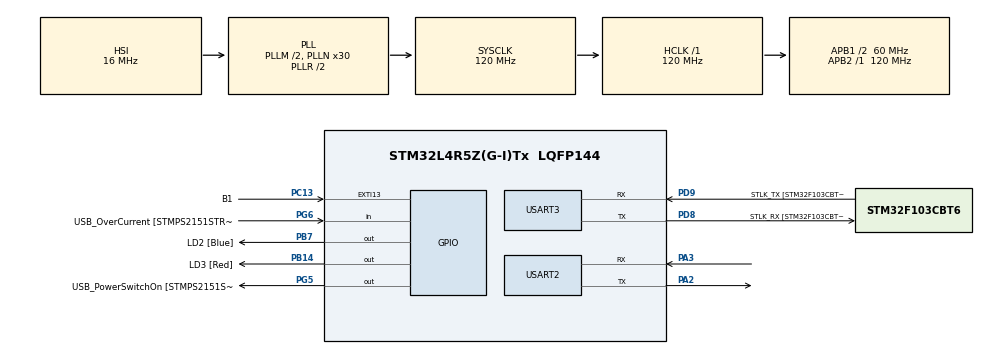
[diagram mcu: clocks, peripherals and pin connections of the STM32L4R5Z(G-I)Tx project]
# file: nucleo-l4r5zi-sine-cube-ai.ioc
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Mcu.Family=STM32L4
RCC.CortexFreq_Value=120000000
STMicroelectronics.X-CUBE-AI.5.2.0.ModelNameList=sine_test,sine_30_30
PG6.Signal=GPIO_Input
PH0-OSC_IN\ (PH0).Signal=RCC_OSC_IN
PG8.Signal=LPUART1_RX
PB14.GPIO_Label=LD3 [Red]
PG6.GPIO_Label=USB_OverCurrent [STMPS2151STR_FAULT]
RCC.SYSCLKSourceVirtual=RCC_SYSCLKSOURCE_PLLCLK
PC15-OSC32_OUT\ (PC15).Mode=LSE-External-Oscillator
STMicroelectronics.X-CUBE-AI.5.2.0.InternalRamActivationBufferMaxSize=AI_SINE_30_30_DATA_ACTIVATIONS_SIZE
PC13.GPIO_Label=B1
PG5.GPIO_Label=USB_PowerSwitchOn [STMPS2151STR_EN]
PD9.Mode=Asynchronous
RCC.SYSCLKSource=RCC_SYSCLKSOURCE_PLLCLK
ProjectManager.StackSize=0x800
STMicroelectronics.X-CUBE-AI.5.2.0.ModelCompression-7002073b0f6a1c85da4d9801150b31406abebfd62baa7a13b6d25261d2a073a7=1
PC14-OSC32_IN\ (PC14).Mode=LSE-External-Oscillator
STMicroelectronics.X-CUBE-AI.5.2.0.ModelRamOccupation-7002073b0f6a1c85da4d9801150b31406abebfd62baa7a13b6d25261d2a073a7=136
USART3.VirtualMode-Asynchronous=VM_ASYNC
STMicroelectronics.X-CUBE-AI.5.2.0.ModelActualCompression-7002073b0f6a1c85da4d9801150b31406abebfd62baa7a13b6d25261d2a073a7=0.0
PA14\ (JTCK/SWCLK).Signal=SYS_JTCK-SWCLK
PA12.Signal=USB_OTG_FS_DP
STMicroelectronics.X-CUBE-AI.5.2.0.StackSize=0x800
STMicroelectronics.X-CUBE-AI.5.2.0.ModelType-bbc4f4d564218044c65541d56d3efa4f631f7e876936c59d42f020930ff69089=Saved model
STMicroelectronics.X-CUBE-AI.5.2.0.ModelRamOccupation-bbc4f4d564218044c65541d56d3efa4f631f7e876936c59d42f020930ff69089=248
STMicroelectronics.X-CUBE-AI.5.2.0.ModelCompression-bbc4f4d564218044c65541d56d3efa4f631f7e876936c59d42f020930ff69089=1
RCC.HCLKFreq_Value=120000000
RCC.APB2TimFreq_Value=120000000
PD8.Signal=USART3_TX
STMicroelectronics.X-CUBE-AI.5.2.0.HeapSize=0x200
RCC.AHBFreq_Value=120000000
STMicroelectronics.X-CUBE-AI.5.2.0.ModelHashList=7002073b0f6a1c85da4d9801150b31406abebfd62baa7a13b6d25261d2a073a7;bbc4f4d564218044c65541d56d3efa4f631f7e876936c59d42f020930ff69089
RCC.HSE_VALUE=8000000
STMicroelectronics.X-CUBE-AI.5.2.0.ModelStructureFile-bbc4f4d564218044c65541d56d3efa4f631f7e876936c59d42f020930ff69089=C\:\\Users\\chitr\\Downloads\\sine_test_30_30.tflite
STMicroelectronics.X-CUBE-AI.5.2.0.ModelKind-7002073b0f6a1c85da4d9801150b31406abebfd62baa7a13b6d25261d2a073a7=TFLITE
USART2.VirtualMode-Asynchronous=VM_ASYNC
RCC.PLLMUL=RCC_PLL_MUL9
STMicroelectronics.X-CUBE-AI.5.2.0.ModelName-7002073b0f6a1c85da4d9801150b31406abebfd62baa7a13b6d25261d2a073a7=sine_test
PA13\ (JTMS/SWDIO).GPIO_Label=TMS
STMicroelectronics.X-CUBE-AI.5.2.0.ModelMacc-bbc4f4d564218044c65541d56d3efa4f631f7e876936c59d42f020930ff69089=1020
PA10.GPIO_Label=USB_ID
STMicroelectronics.X-CUBE-AI.5.2.0.ModelKind-bbc4f4d564218044c65541d56d3efa4f631f7e876936c59d42f020930ff69089=TFLITE
STMicroelectronics.X-CUBE-AI.5.2.0.ModelMacc-7002073b0f6a1c85da4d9801150b31406abebfd62baa7a13b6d25261d2a073a7=320
PB7.Signal=GPIO_Output
STMicroelectronics.X-CUBE-AI.5.2.0.LatestDirectoryUsed-7002073b0f6a1c85da4d9801150b31406abebfd62baa7a13b6d25261d2a073a7=C\:\\Users\\chitr\\Downloads
PA8.Signal=USB_OTG_FS_SOF
PA14\ (JTCK/SWCLK).Mode=Trace_Asynchronous_SW
STMicroelectronics.X-CUBE-AI.5.2.0.XAaCUBEAaAICcArtificialOoIntelligenceJjCore=true
PB7.GPIO_Label=LD2 [Blue]
Mcu.Package=LQFP144
STMicroelectronics.X-CUBE-AI.5.2.0.ModelStructureFile-7002073b0f6a1c85da4d9801150b31406abebfd62baa7a13b6d25261d2a073a7=C\:\\Users\\chitr\\Downloads\\sine_test_16_16_NN.tflite
PA10.Signal=USB_OTG_FS_ID
PA14\ (JTCK/SWCLK).GPIO_Label=TCK
RCC.APB1TimFreq_Value=120000000
STMicroelectronics.X-CUBE-AI.5.2.0.MaximumSizeOfInputLayer=AI_SINE_TEST_IN_1_SIZE_BYTES
RCC.CK48CLockSelection=RCC_USBCLKSOURCE_HSI48
TIM16.Prescaler=80-1
STMicroelectronics.X-CUBE-AI.5.2.0.LatestDirectoryUsed-bbc4f4d564218044c65541d56d3efa4f631f7e876936c59d42f020930ff69089=C\:\\Users\\chitr\\Downloads
STMicroelectronics.X-CUBE-AI.5.2.0.MaximumNumberOfOutputLayer=1
RCC.HSI48_VALUE=48000000
RCC.PLLSAI1N=12
PA3.Signal=USART2_RX
PB3\ (JTDO/TRACESWO).GPIO_Label=SWO
RCC.MSI_VALUE=4000000
RCC.PLLSourceVirtual=RCC_PLLSOURCE_HSI
STMicroelectronics.X-CUBE-AI.5.2.0.MaximumSizeOfOutputLayer=AI_SINE_TEST_OUT_1_SIZE_BYTES
PG7.Signal=LPUART1_TX
PA13\ (JTMS/SWDIO).Mode=Trace_Asynchronous_SW
PD9.GPIO_Label=STLK_TX [STM32F103CBT6_PA2]
PG5.Signal=GPIO_Output
PC13.Signal=GPXTI13
PA9.GPIO_Label=USB_VBUS
STMicroelectronics.X-CUBE-AI.5.2.0.ModelFlashOccupation-7002073b0f6a1c85da4d9801150b31406abebfd62baa7a13b6d25261d2a073a7=1284
PA11.GPIO_Label=USB_DM
PC15-OSC32_OUT\ (PC15).Signal=RCC_OSC32_OUT
PD9.Signal=USART3_RX
VP_TIM16_VS_ClockSourceINT.Mode=Enable_Timer
RCC.APB1CLKDivider=RCC_HCLK_DIV2
PA12.GPIO_Label=USB_DP
VP_STMicroelectronics.X-CUBE-AI_VS_ArtificialOoIntelligenceJjXAaCUBEAaAI_5.2.0.Mode=ArtificialOoIntelligenceJjXAaCUBEAaAI
PH1-OSC_OUT\ (PH1).Signal=RCC_OSC_OUT
PD8.GPIO_Label=STLK_RX [STM32F103CBT6_PA3]
PG8.GPIO_Label=STLINK_RX
PA3.Mode=Asynchronous
PA8.GPIO_Label=USB_SOF [TP1]
PB3\ (JTDO/TRACESWO).Signal=SYS_JTDO-SWO
ProjectManager.TargetToolchain=STM32CubeIDE
STMicroelectronics.X-CUBE-AI.5.2.0.MaximumNumberOfInputLayer=1
PA9.Signal=USB_OTG_FS_VBUS
RCC.USBFreq_Value=48000000
PD8.Mode=Asynchronous
STMicroelectronics.X-CUBE-AI.5.2.0.ModelFlashOccupation-bbc4f4d564218044c65541d56d3efa4f631f7e876936c59d42f020930ff69089=4084
PB14.Signal=GPIO_Output
board=NUCLEO-L4R5ZI
STMicroelectronics.X-CUBE-AI.5.2.0.ModelName-bbc4f4d564218044c65541d56d3efa4f631f7e876936c59d42f020930ff69089=sine_30_30
RCC.VCOOutputFreq_Value=240000000
TIM16.Period=65536-1
RCC.APB2Freq_Value=120000000
STMicroelectronics.X-CUBE-AI.5.2.0.ActivationBufferSizeList=136,248
STMicroelectronics.X-CUBE-AI.5.2.0.WorkingBufferStartAddrList=0xFFFFFFFF,0xFFFFFFFF
RCC.PRESCALERUSB=RCC_USBCLKSOURCE_PLL_DIV1_5
PG7.GPIO_Label=STLINK_TX
RCC.ADCFreq_Value=96000000
Mcu.Name=STM32L4R5Z(G-I)Tx
PA2.Signal=USART2_TX
RCC.48MHZClocksFreq_Value=24000000
RCC.SYSCLKFreq_VALUE=120000000
RCC.PLLM1=2
PC14-OSC32_IN\ (PC14).Signal=RCC_OSC32_IN
PA11.Signal=USB_OTG_FS_DM
ProjectManager.HeapSize=0x200
RCC.HSI_VALUE=16000000
STMicroelectronics.X-CUBE-AI.5.2.0.ModelType-7002073b0f6a1c85da4d9801150b31406abebfd62baa7a13b6d25261d2a073a7=Saved model
NVIC.PriorityGroup=NVIC_PRIORITYGROUP_4
PB3\ (JTDO/TRACESWO).Mode=Trace_Asynchronous_SW
RCC.PLLN=30
PA2.Mode=Asynchronous
RCC.APB1Freq_Value=60000000
VP_CRC_VS_CRC.Mode=CRC_Activate
PA13\ (JTMS/SWDIO).Signal=SYS_JTMS-SWDIO
STMicroelectronics.X-CUBE-AI.5.2.0.ModelActualCompression-bbc4f4d564218044c65541d56d3efa4f631f7e876936c59d42f020930ff69089=0.0

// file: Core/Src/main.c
/* USER CODE BEGIN Header */
/**
  ******************************************************************************
  * @file           : main.c
  * @brief          : Main program body
  ******************************************************************************
  * @attention
  *
  * <h2><center>&copy; Copyright (c) 2021 STMicroelectronics.
  * All rights reserved.</center></h2>
  *
  * This software component is licensed by ST under BSD 3-Clause license,
  * the "License"; You may not use this file except in compliance with the
  * License. You may obtain a copy of the License at:
  *                        opensource.org/licenses/BSD-3-Clause
  *
  ******************************************************************************
  */
/* USER CODE END Header */
#include "main.h"

/* USER CODE BEGIN Includes */
#include <stdio.h>

#include "ai_datatypes_defines.h"
#include "ai_platform.h"

// LSTM: 100-100
#include "sine_model_data.h"
#include "sine_model.h"
/* USER CODE END Includes */

CRC_HandleTypeDef hcrc;

TIM_HandleTypeDef htim16;

UART_HandleTypeDef huart2;
UART_HandleTypeDef huart3;

void SystemClock_Config(void);
static void MX_GPIO_Init(void);
static void MX_USART3_UART_Init(void);
static void MX_TIM16_Init(void);
static void MX_CRC_Init(void);
static void MX_USART2_UART_Init(void);

int main(void)
{
  /* USER CODE BEGIN 1 */
  char buf[50];
  int buf_len = 0;
  ai_error ai_err;
  ai_i32 nbatch;
  uint32_t timestamp;
  float y_val;

  // Chunk of memory used to hold intermediate values for neural network
  AI_ALIGNED(4) ai_u8 activations[AI_SINE_MODEL_DATA_ACTIVATIONS_SIZE];

  // Buffers used to store input and output tensors
  AI_ALIGNED(4) ai_i8 in_data[AI_SINE_MODEL_IN_1_SIZE_BYTES];
  AI_ALIGNED(4) ai_i8 out_data[AI_SINE_MODEL_OUT_1_SIZE_BYTES];

  // Pointer to our model
  ai_handle sine_model = AI_HANDLE_NULL;

  // Initialize wrapper structs that hold pointers to data and info about the
  // data (tensor height, width, channels)
  ai_buffer ai_input[AI_SINE_MODEL_IN_NUM] = AI_SINE_MODEL_IN;
  ai_buffer ai_output[AI_SINE_MODEL_OUT_NUM] = AI_SINE_MODEL_OUT;

  // Set working memory and get weights/biases from model
  ai_network_params ai_params = {
		  AI_SINE_MODEL_DATA_WEIGHTS(ai_sine_model_data_weights_get()),
		  AI_SINE_MODEL_DATA_ACTIVATIONS(activations)
  };

  // Set pointers wrapper structs to our data buffers
  ai_input[0].n_batches = 1;
  ai_input[0].data = AI_HANDLE_PTR(in_data);
  ai_output[0].n_batches = 1;
  ai_output[0].data = AI_HANDLE_PTR(out_data);

  /* USER CODE END 1 */

  /* MCU Configuration--------------------------------------------------------*/

  /* Reset of all peripherals, Initializes the Flash interface and the Systick. */
  HAL_Init();

  /* Configure the system clock */
  SystemClock_Config();

  /* Initialize all configured peripherals */
  MX_GPIO_Init();
  MX_USART3_UART_Init();
  MX_TIM16_Init();
  MX_CRC_Init();
  MX_USART2_UART_Init();
  /* USER CODE BEGIN 2 */
  // Start timer/counter
  HAL_TIM_Base_Start(&htim16);

  // Greetings!
  buf_len = sprintf(buf, "\r\n\r\nSTM32 X-Cube-AI test\r\n");
  HAL_UART_Transmit(&huart2, (uint8_t *)buf, buf_len, 100);

  // Create instance of neural network
  ai_err = ai_sine_model_create(&sine_model, AI_SINE_MODEL_DATA_CONFIG);
  if (ai_err.type != AI_ERROR_NONE)
  {
	  buf_len = sprintf(buf, "Error: could not create NN instance\r\n");
	  HAL_UART_Transmit(&huart2, (uint8_t *)buf, buf_len, 100);
	  while(1);
  }

  // Initialize neural network
  if (!ai_sine_model_init(sine_model, &ai_params))
  {
      buf_len = sprintf(buf, "Error: could not initialize NN\r\n");
      HAL_UART_Transmit(&huart2, (uint8_t *)buf, buf_len, 100);
      while(1);
  }
  /* USER CODE END 2 */

  /* Infinite loop */
  /* USER CODE BEGIN WHILE */
  while (1)
  {
	  HAL_GPIO_TogglePin(GPIOB, GPIO_PIN_7);
	  // Fill input buffer (use test value)
	  for (uint32_t i = 0; i < AI_SINE_MODEL_IN_1_SIZE; i++)
	  {
		  ((ai_float *)in_data)[i] = (ai_float)2.0f;
	  }

	  // Get current timestamp
	  timestamp = htim16.Instance->CNT;

	  // Perform inference
	  nbatch = ai_sine_model_run(sine_model, &ai_input[0], &ai_output[0]);
	  if (nbatch != 1) {
		buf_len = sprintf(buf, "Error: could not run inference\r\n");
		HAL_UART_Transmit(&huart2, (uint8_t *)buf, buf_len, 100);
	  }

	  // Read output (predicted y) of neural network
	  y_val = ((float *)out_data)[0];

	  HAL_GPIO_TogglePin(GPIOB, GPIO_PIN_14);

	  uint32_t inference_time = htim16.Instance->CNT - timestamp;
	  // Print output of neural network along with inference time (microseconds)
	  buf_len = sprintf(buf, "Output: %f | Duration: %lu\r\n", y_val, inference_time);

	  HAL_UART_Transmit(&huart2, (uint8_t *)buf, buf_len, 100);

	  // Wait before doing it again
	  HAL_Delay(2000);

    /* USER CODE END WHILE */

  }
}

void SystemClock_Config(void)
{
  RCC_OscInitTypeDef RCC_OscInitStruct = {0};
  RCC_ClkInitTypeDef RCC_ClkInitStruct = {0};
  RCC_PeriphCLKInitTypeDef PeriphClkInit = {0};

  /** Configure the main internal regulator output voltage
  */
  if (HAL_PWREx_ControlVoltageScaling(PWR_REGULATOR_VOLTAGE_SCALE1_BOOST) != HAL_OK)
  {
    Error_Handler();
  }
  /** Initializes the RCC Oscillators according to the specified parameters
  * in the RCC_OscInitTypeDef structure.
  */
  RCC_OscInitStruct.OscillatorType = RCC_OSCILLATORTYPE_HSI;
  RCC_OscInitStruct.HSIState = RCC_HSI_ON;
  RCC_OscInitStruct.HSICalibrationValue = RCC_HSICALIBRATION_DEFAULT;
  RCC_OscInitStruct.PLL.PLLState = RCC_PLL_ON;
  RCC_OscInitStruct.PLL.PLLSource = RCC_PLLSOURCE_HSI;
  RCC_OscInitStruct.PLL.PLLM = 2;
  RCC_OscInitStruct.PLL.PLLN = 30;
  RCC_OscInitStruct.PLL.PLLP = RCC_PLLP_DIV2;
  RCC_OscInitStruct.PLL.PLLQ = RCC_PLLQ_DIV2;
  RCC_OscInitStruct.PLL.PLLR = RCC_PLLR_DIV2;
  if (HAL_RCC_OscConfig(&RCC_OscInitStruct) != HAL_OK)
  {
    Error_Handler();
  }
  /** Initializes the CPU, AHB and APB buses clocks
  */
  RCC_ClkInitStruct.ClockType = RCC_CLOCKTYPE_HCLK|RCC_CLOCKTYPE_SYSCLK
                              |RCC_CLOCKTYPE_PCLK1|RCC_CLOCKTYPE_PCLK2;
  RCC_ClkInitStruct.SYSCLKSource = RCC_SYSCLKSOURCE_PLLCLK;
  RCC_ClkInitStruct.AHBCLKDivider = RCC_SYSCLK_DIV1;
  RCC_ClkInitStruct.APB1CLKDivider = RCC_HCLK_DIV2;
  RCC_ClkInitStruct.APB2CLKDivider = RCC_HCLK_DIV1;

  if (HAL_RCC_ClockConfig(&RCC_ClkInitStruct, FLASH_LATENCY_5) != HAL_OK)
  {
    Error_Handler();
  }
  PeriphClkInit.PeriphClockSelection = RCC_PERIPHCLK_USART2|RCC_PERIPHCLK_USART3;
  PeriphClkInit.Usart2ClockSelection = RCC_USART2CLKSOURCE_PCLK1;
  PeriphClkInit.Usart3ClockSelection = RCC_USART3CLKSOURCE_PCLK1;
  if (HAL_RCCEx_PeriphCLKConfig(&PeriphClkInit) != HAL_OK)
  {
    Error_Handler();
  }
}

static void MX_CRC_Init(void)
{

  hcrc.Instance = CRC;
  hcrc.Init.DefaultPolynomialUse = DEFAULT_POLYNOMIAL_ENABLE;
  hcrc.Init.DefaultInitValueUse = DEFAULT_INIT_VALUE_ENABLE;
  hcrc.Init.InputDataInversionMode = CRC_INPUTDATA_INVERSION_NONE;
  hcrc.Init.OutputDataInversionMode = CRC_OUTPUTDATA_INVERSION_DISABLE;
  hcrc.InputDataFormat = CRC_INPUTDATA_FORMAT_BYTES;
  if (HAL_CRC_Init(&hcrc) != HAL_OK)
  {
    Error_Handler();
  }

}

static void MX_TIM16_Init(void)
{

  htim16.Instance = TIM16;
  htim16.Init.Prescaler = 1831;
  htim16.Init.CounterMode = TIM_COUNTERMODE_UP;
  htim16.Init.Period = 65536-1;
  htim16.Init.ClockDivision = TIM_CLOCKDIVISION_DIV1;
  htim16.Init.RepetitionCounter = 0;
  htim16.Init.AutoReloadPreload = TIM_AUTORELOAD_PRELOAD_DISABLE;
  if (HAL_TIM_Base_Init(&htim16) != HAL_OK)
  {
    Error_Handler();
  }

}

static void MX_USART2_UART_Init(void)
{

  huart2.Instance = USART2;
  huart2.Init.BaudRate = 115200;
  huart2.Init.WordLength = UART_WORDLENGTH_8B;
  huart2.Init.StopBits = UART_STOPBITS_1;
  huart2.Init.Parity = UART_PARITY_NONE;
  huart2.Init.Mode = UART_MODE_TX_RX;
  huart2.Init.HwFlowCtl = UART_HWCONTROL_NONE;
  huart2.Init.OverSampling = UART_OVERSAMPLING_16;
  huart2.Init.OneBitSampling = UART_ONE_BIT_SAMPLE_DISABLE;
  huart2.Init.ClockPrescaler = UART_PRESCALER_DIV1;
  huart2.AdvancedInit.AdvFeatureInit = UART_ADVFEATURE_NO_INIT;
  if (HAL_UART_Init(&huart2) != HAL_OK)
  {
    Error_Handler();
  }
  if (HAL_UARTEx_SetTxFifoThreshold(&huart2, UART_TXFIFO_THRESHOLD_1_8) != HAL_OK)
  {
    Error_Handler();
  }
  if (HAL_UARTEx_SetRxFifoThreshold(&huart2, UART_RXFIFO_THRESHOLD_1_8) != HAL_OK)
  {
    Error_Handler();
  }
  if (HAL_UARTEx_DisableFifoMode(&huart2) != HAL_OK)
  {
    Error_Handler();
  }

}

static void MX_USART3_UART_Init(void)
{

  huart3.Instance = USART3;
  huart3.Init.BaudRate = 115200;
  huart3.Init.WordLength = UART_WORDLENGTH_8B;
  huart3.Init.StopBits = UART_STOPBITS_1;
  huart3.Init.Parity = UART_PARITY_NONE;
  huart3.Init.Mode = UART_MODE_TX_RX;
  huart3.Init.HwFlowCtl = UART_HWCONTROL_NONE;
  huart3.Init.OverSampling = UART_OVERSAMPLING_16;
  huart3.Init.OneBitSampling = UART_ONE_BIT_SAMPLE_DISABLE;
  huart3.Init.ClockPrescaler = UART_PRESCALER_DIV1;
  huart3.AdvancedInit.AdvFeatureInit = UART_ADVFEATURE_NO_INIT;
  if (HAL_UART_Init(&huart3) != HAL_OK)
  {
    Error_Handler();
  }
  if (HAL_UARTEx_SetTxFifoThreshold(&huart3, UART_TXFIFO_THRESHOLD_1_8) != HAL_OK)
  {
    Error_Handler();
  }
  if (HAL_UARTEx_SetRxFifoThreshold(&huart3, UART_RXFIFO_THRESHOLD_1_8) != HAL_OK)
  {
    Error_Handler();
  }
  if (HAL_UARTEx_DisableFifoMode(&huart3) != HAL_OK)
  {
    Error_Handler();
  }

}

static void MX_GPIO_Init(void)
{
  GPIO_InitTypeDef GPIO_InitStruct = {0};

  /* GPIO Ports Clock Enable */
  __HAL_RCC_GPIOC_CLK_ENABLE();
  __HAL_RCC_GPIOH_CLK_ENABLE();
  __HAL_RCC_GPIOA_CLK_ENABLE();
  __HAL_RCC_GPIOB_CLK_ENABLE();
  __HAL_RCC_GPIOD_CLK_ENABLE();
  __HAL_RCC_GPIOG_CLK_ENABLE();
  HAL_PWREx_EnableVddIO2();

  /*Configure GPIO pin Output Level */
  HAL_GPIO_WritePin(GPIOB, LD3_Pin|LD2_Pin, GPIO_PIN_RESET);

  /*Configure GPIO pin Output Level */
  HAL_GPIO_WritePin(USB_PowerSwitchOn_GPIO_Port, USB_PowerSwitchOn_Pin, GPIO_PIN_RESET);

  /*Configure GPIO pin : B1_Pin */
  GPIO_InitStruct.Pin = B1_Pin;
  GPIO_InitStruct.Mode = GPIO_MODE_IT_RISING;
  GPIO_InitStruct.Pull = GPIO_NOPULL;
  HAL_GPIO_Init(B1_GPIO_Port, &GPIO_InitStruct);

  /*Configure GPIO pins : LD3_Pin LD2_Pin */
  GPIO_InitStruct.Pin = LD3_Pin|LD2_Pin;
  GPIO_InitStruct.Mode = GPIO_MODE_OUTPUT_PP;
  GPIO_InitStruct.Pull = GPIO_NOPULL;
  GPIO_InitStruct.Speed = GPIO_SPEED_FREQ_LOW;
  HAL_GPIO_Init(GPIOB, &GPIO_InitStruct);

  /*Configure GPIO pin : USB_PowerSwitchOn_Pin */
  GPIO_InitStruct.Pin = USB_PowerSwitchOn_Pin;
  GPIO_InitStruct.Mode = GPIO_MODE_OUTPUT_PP;
  GPIO_InitStruct.Pull = GPIO_NOPULL;
  GPIO_InitStruct.Speed = GPIO_SPEED_FREQ_LOW;
  HAL_GPIO_Init(USB_PowerSwitchOn_GPIO_Port, &GPIO_InitStruct);

  /*Configure GPIO pin : USB_OverCurrent_Pin */
  GPIO_InitStruct.Pin = USB_OverCurrent_Pin;
  GPIO_InitStruct.Mode = GPIO_MODE_INPUT;
  GPIO_InitStruct.Pull = GPIO_NOPULL;
  HAL_GPIO_Init(USB_OverCurrent_GPIO_Port, &GPIO_InitStruct);

  /*Configure GPIO pins : STLINK_TX_Pin STLINK_RX_Pin */
  GPIO_InitStruct.Pin = STLINK_TX_Pin|STLINK_RX_Pin;
  GPIO_InitStruct.Mode = GPIO_MODE_AF_PP;
  GPIO_InitStruct.Pull = GPIO_NOPULL;
  GPIO_InitStruct.Speed = GPIO_SPEED_FREQ_VERY_HIGH;
  GPIO_InitStruct.Alternate = GPIO_AF8_LPUART1;
  HAL_GPIO_Init(GPIOG, &GPIO_InitStruct);

  /*Configure GPIO pins : USB_SOF_Pin USB_ID_Pin USB_DM_Pin USB_DP_Pin */
  GPIO_InitStruct.Pin = USB_SOF_Pin|USB_ID_Pin|USB_DM_Pin|USB_DP_Pin;
  GPIO_InitStruct.Mode = GPIO_MODE_AF_PP;
  GPIO_InitStruct.Pull = GPIO_NOPULL;
  GPIO_InitStruct.Speed = GPIO_SPEED_FREQ_VERY_HIGH;
  GPIO_InitStruct.Alternate = GPIO_AF10_OTG_FS;
  HAL_GPIO_Init(GPIOA, &GPIO_InitStruct);

  /*Configure GPIO pin : USB_VBUS_Pin */
  GPIO_InitStruct.Pin = USB_VBUS_Pin;
  GPIO_InitStruct.Mode = GPIO_MODE_INPUT;
  GPIO_InitStruct.Pull = GPIO_NOPULL;
  HAL_GPIO_Init(USB_VBUS_GPIO_Port, &GPIO_InitStruct);

}

void Error_Handler(void)
{
  __disable_irq();
  while (1)
  {
  }
}

/************************ (C) COPYRIGHT STMicroelectronics *****END OF FILE****/
